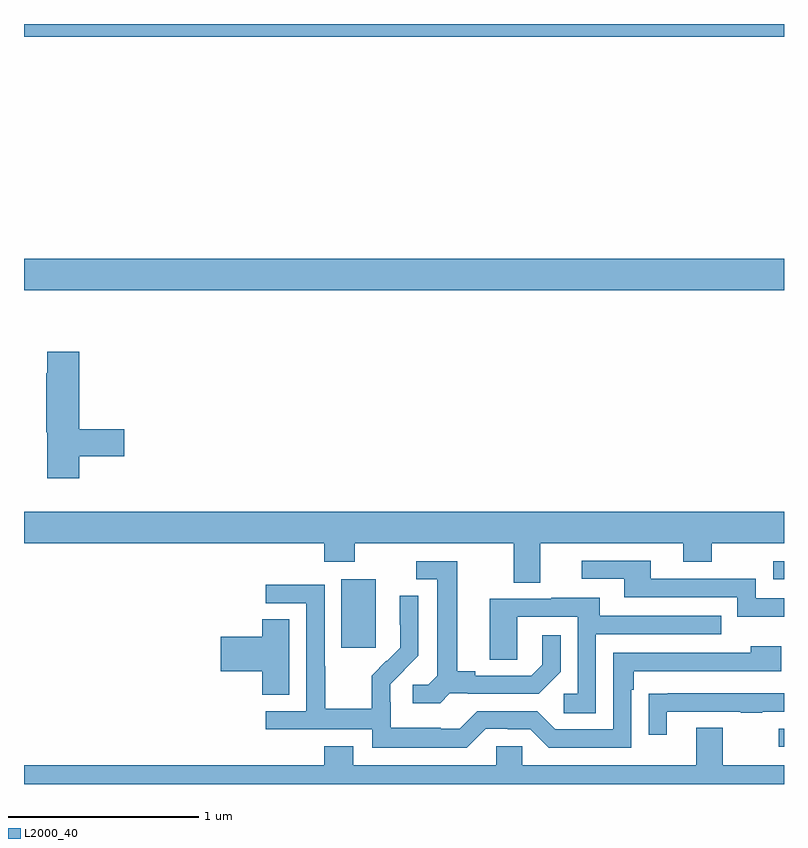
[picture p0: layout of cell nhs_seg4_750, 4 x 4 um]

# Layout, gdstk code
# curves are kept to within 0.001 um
import gdstk
lib = gdstk.Library(unit=1e-6, precision=1e-09)
def R(c, l, rs):  # rectangles x0, y0, x1, y1
    for r in rs: c.add(gdstk.rectangle(r[:2], r[2:], *l))
def P(c, l, *ps):  # polygons
    for p in ps: c.add(gdstk.Polygon(p, *l))
L2000_40 = (2000, 40)

nhs_seg4_750 = lib.new_cell('nhs_seg4_750')
R(nhs_seg4_750, L2000_40, [(152.973,781.095,153,781.191), (150.671,781.617,150.85,781.978), (152.943,781.977,153,782.073), (149,783.5,153,783.664), (149,784.832,153,784.9)])
P(nhs_seg4_750, L2000_40, [(149.291,782.626),(149.527,782.626),(149.527,782.768),(149.291,782.768),(149.291,783.175),(149.123,783.175),(149.123,783.062),(149.116,783.062),(149.116,782.751),(149.123,782.751),(149.123,782.508),(149.291,782.508)],
  [(151.717,782.168),(152.471,782.168),(152.471,782.069),(152.619,782.069),(152.619,782.168),(153,782.168),(153,782.332),(149,782.332),(149,782.168),(150.581,782.168),(150.581,782.069),(150.741,782.069),(150.741,782.168),(151.577,782.168),(151.577,781.96),(151.717,781.96)],
  [(153,781.878),(152.85,781.878),(152.85,781.98),(152.299,781.98),(152.299,782.076),(151.935,782.076),(151.935,781.98),(152.159,781.98),(152.159,781.884),(152.754,781.884),(152.754,781.781),(153,781.781)],
  [(151.242,781.377),(151.336,781.377),(151.336,781.374),(151.708,781.374),(151.824,781.49),(151.824,781.684),(151.727,781.684),(151.727,781.527),(151.67,781.47),(151.375,781.47),(151.375,781.493),(151.279,781.493),(151.279,782.073),(151.065,782.073),(151.065,781.977),(151.175,781.977),(151.175,781.469),(151.128,781.422),(151.047,781.422),(151.047,781.325),(151.19,781.325)],
  [(151.431,781.191),(151.547,781.191),(151.547,781.188),(151.665,781.188),(151.761,781.092),(152.196,781.092),(152.196,781.397),(152.209,781.397),(152.209,781.494),(152.986,781.494),(152.986,781.624),(152.825,781.624),(152.825,781.59),(152.1,781.59),(152.1,781.188),(151.797,781.188),(151.701,781.284),(151.386,781.284),(151.293,781.191),(151.193,781.191),(151.193,781.195),(150.93,781.195),(150.93,781.329),(150.928,781.329),(150.928,781.426),(151.074,781.574),(151.074,781.892),(150.978,781.892),(150.978,781.738),(150.98,781.738),(150.98,781.616),(150.909,781.545),(150.906,781.548),(150.829,781.471),(150.829,781.297),(150.585,781.297),(150.585,781.52),(150.582,781.52),(150.582,781.95),(150.273,781.95),(150.273,781.851),(150.486,781.851),(150.486,781.284),(150.273,781.284),(150.273,781.188),(150.834,781.188),(150.834,781.091),(151.331,781.091)],
  [(152.01,781.689),(152.669,781.689),(152.669,781.785),(152.029,781.785),(152.029,781.879),(151.775,781.879),(151.775,781.875),(151.451,781.875),(151.451,781.555),(151.596,781.555),(151.596,781.779),(151.914,781.779),(151.914,781.374),(151.842,781.374),(151.842,781.273),(152.01,781.273)],
  [(150.397,781.766),(150.254,781.766),(150.254,781.676),(150.036,781.676),(150.036,781.493),(150.254,781.493),(150.254,781.369),(150.397,781.369)],
  [(152.383,781.281),(152.773,781.281),(152.773,781.276),(152.885,781.276),(152.885,781.281),(153,781.281),(153,781.377),(152.389,781.377),(152.389,781.376),(152.287,781.376),(152.287,781.158),(152.383,781.158)],
  [(153,781),(152.677,781),(152.677,781.195),(152.537,781.195),(152.537,781),(151.623,781),(151.623,781.098),(151.485,781.098),(151.485,781),(150.733,781),(150.733,781.099),(150.581,781.099),(150.581,781),(149,781),(149,780.9),(153,780.9)])

lib.write_gds('nhs_seg4_750.gds')
